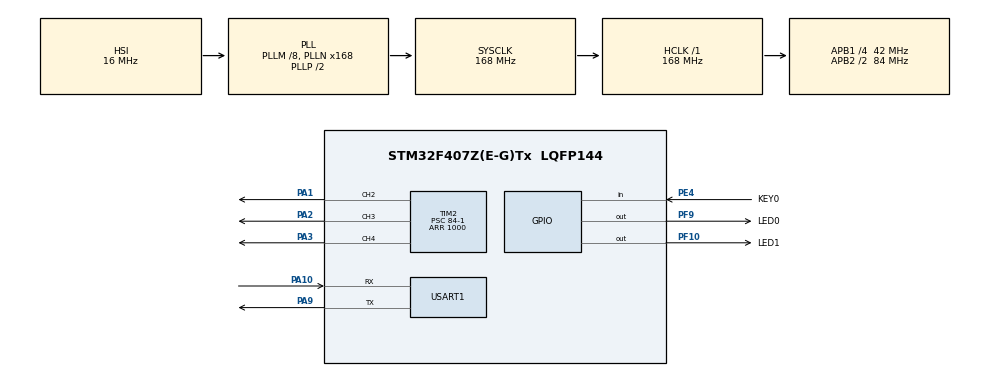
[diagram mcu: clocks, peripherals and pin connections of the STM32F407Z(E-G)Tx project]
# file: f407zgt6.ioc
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Mcu.Family=STM32F4
Mcu.Name=STM32F407Z(E-G)Tx
Mcu.Package=LQFP144
NVIC.PriorityGroup=NVIC_PRIORITYGROUP_4
NVIC.USART1_IRQn=true\:4\:0\:true\:false\:true\:true\:true\:true
PA1.Signal=S_TIM2_CH2
PA10.Mode=Asynchronous
PA10.Signal=USART1_RX
PA2.Signal=S_TIM2_CH3
PA3.Signal=S_TIM2_CH4
PA9.Mode=Asynchronous
PA9.Signal=USART1_TX
PE4.GPIO_Label=KEY0
PE4.GPIO_PuPd=GPIO_PULLDOWN
PE4.Signal=GPIO_Input
PF10.GPIO_Label=LED1
PF10.PinState=GPIO_PIN_SET
PF10.Signal=GPIO_Output
PF9.GPIO_Label=LED0
PF9.PinState=GPIO_PIN_SET
PF9.Signal=GPIO_Output
PH0-OSC_IN.Mode=HSE-External-Oscillator
PH0-OSC_IN.Signal=RCC_OSC_IN
PH1-OSC_OUT.Mode=HSE-External-Oscillator
PH1-OSC_OUT.Signal=RCC_OSC_OUT
ProjectManager.HeapSize=0x200
ProjectManager.StackSize=0x400
ProjectManager.TargetToolchain=STM32CubeIDE
RCC.48MHZClocksFreq_Value=84000000
RCC.AHBFreq_Value=168000000
RCC.APB1CLKDivider=RCC_HCLK_DIV4
RCC.APB1Freq_Value=42000000
RCC.APB1TimFreq_Value=84000000
RCC.APB2CLKDivider=RCC_HCLK_DIV2
RCC.APB2Freq_Value=84000000
RCC.APB2TimFreq_Value=168000000
RCC.CortexFreq_Value=168000000
RCC.HCLKFreq_Value=168000000
RCC.HSE_VALUE=8000000
RCC.HSI_VALUE=16000000
RCC.LSE_VALUE=32768
RCC.PLLM=8
RCC.PLLN=168
RCC.SYSCLKFreq_VALUE=168000000
RCC.SYSCLKSource=RCC_SYSCLKSOURCE_PLLCLK
RCC.VCOOutputFreq_Value=336000000
SH.S_TIM2_CH2.0=TIM2_CH2,PWM Generation2 CH2
SH.S_TIM2_CH3.0=TIM2_CH3,PWM Generation3 CH3
SH.S_TIM2_CH4.0=TIM2_CH4,PWM Generation4 CH4
TIM2.Channel-PWM\ Generation2\ CH2=TIM_CHANNEL_2
TIM2.Channel-PWM\ Generation3\ CH3=TIM_CHANNEL_3
TIM2.Channel-PWM\ Generation4\ CH4=TIM_CHANNEL_4
TIM2.CounterMode=TIM_COUNTERMODE_CENTERALIGNED1
TIM2.OC2Preload_PWM=ENABLE
TIM2.OCPolarity_2=TIM_OCPOLARITY_HIGH
TIM2.Period=1000
TIM2.Prescaler=84-1
USART1.VirtualMode=VM_ASYNC
VP_TIM2_VS_ClockSourceINT.Mode=Internal
board=custom

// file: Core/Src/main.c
/* USER CODE BEGIN Header */
/**
  ******************************************************************************
  * @file           : main.c
  * @brief          : Main program body
  ******************************************************************************
  * @attention
  *
  * Copyright (c) 2023 STMicroelectronics.
  * All rights reserved.
  *
  * This software is licensed under terms that can be found in the LICENSE file
  * in the root directory of this software component.
  * If no LICENSE file comes with this software, it is provided AS-IS.
  *
  ******************************************************************************
  */
/* USER CODE END Header */
#include "main.h"
#include "tim.h"
#include "usart.h"
#include "gpio.h"
/* USER CODE BEGIN Includes */
#include "svpwm.h"
/* USER CODE END Includes */

void SystemClock_Config(void);

int main(void)
{

    /* MCU Configuration--------------------------------------------------------*/

    /* Reset of all peripherals, Initializes the Flash interface and the Systick. */
    HAL_Init();

    /* Configure the system clock */
    SystemClock_Config();

    /* Initialize all configured peripherals */
    MX_GPIO_Init();
    MX_USART1_UART_Init();
    MX_TIM2_Init();
    /* USER CODE BEGIN 2 */
    uint8_t data;
    HAL_TIM_PWM_Start(&htim2, TIM_CHANNEL_2);
    HAL_TIM_PWM_Start(&htim2, TIM_CHANNEL_3);
    HAL_TIM_PWM_Start(&htim2, TIM_CHANNEL_4);

    __HAL_TIM_SET_COMPARE(&htim2, TIM_CHANNEL_2, 0);
    __HAL_TIM_SET_COMPARE(&htim2, TIM_CHANNEL_3, 0);
    __HAL_TIM_SET_COMPARE(&htim2, TIM_CHANNEL_4, 0);

    Clark clark_t;
    Time time_t;
    uint8_t sector;
    Phase phase_t;
    float theta = 0.0;
    /* USER CODE END 2 */

    /* Infinite loop */
    /* USER CODE BEGIN WHILE */
    while (1)
    {
        while (theta <= 6.28)
        {
            Inv_Park(0, 1.0, &clark_t, theta);
            sector = Sector_Judge(clark_t.Valpha, clark_t.Vbeta);
            Cal_Time(&time_t, clark_t.Valpha, clark_t.Vbeta, sector);
            Time_balance(&time_t, &phase_t, sector);
            U1_Printf("pha=%.3f,phb=%.3f,phc=%.3f\r\n",phase_t.phaseA,phase_t.phaseB,phase_t.phaseC);
            theta += 0.01;
//            __HAL_TIM_SET_COMPARE(&htim2,TIM_CHANNEL_2,(int)(phase_t.phaseA*1000.0));
//            __HAL_TIM_SET_COMPARE(&htim2,TIM_CHANNEL_3,(int)(phase_t.phaseB*1000.0));
//            __HAL_TIM_SET_COMPARE(&htim2,TIM_CHANNEL_4,(int)(phase_t.phaseC*1000.0));
        }
        theta = 0;
//        if (U1_RX_Struct.RX_Out != U1_RX_Struct.RX_In)//Indicate that the UART1 receive buffer has some data
//        {
//            //U1_Printf("Receive %d data\r\n", U1_RX_Struct.RX_Out->end - U1_RX_Struct.RX_Out->start + 1);
//            data=(*U1_RX_Struct.RX_Out->start-'0')*100+(*(U1_RX_Struct.RX_Out->start+1)-'0')*10+(*(U1_RX_Struct.RX_Out->start+2)-'0');
//            U1_Printf("data:%d\r\n",data);
//            __HAL_TIM_SET_COMPARE(&htim2,TIM_CHANNEL_2,(float)data/500.0*2000);
//            U1_RX_Struct.RX_Out++;//get the next data
//            if (U1_RX_Struct.RX_Out == U1_RX_Struct.RX_End)
//                U1_RX_Struct.RX_Out = &U1_RX_Struct.SE_Buffer[0];
//        }
        /* USER CODE END WHILE */

    }
}

void SystemClock_Config(void)
{
    RCC_OscInitTypeDef RCC_OscInitStruct = {0};
    RCC_ClkInitTypeDef RCC_ClkInitStruct = {0};

    /** Configure the main internal regulator output voltage
    */
    __HAL_RCC_PWR_CLK_ENABLE();
    __HAL_PWR_VOLTAGESCALING_CONFIG(PWR_REGULATOR_VOLTAGE_SCALE1);

    /** Initializes the RCC Oscillators according to the specified parameters
    * in the RCC_OscInitTypeDef structure.
    */
    RCC_OscInitStruct.OscillatorType = RCC_OSCILLATORTYPE_HSI;
    RCC_OscInitStruct.HSIState = RCC_HSI_ON;
    RCC_OscInitStruct.HSICalibrationValue = RCC_HSICALIBRATION_DEFAULT;
    RCC_OscInitStruct.PLL.PLLState = RCC_PLL_ON;
    RCC_OscInitStruct.PLL.PLLSource = RCC_PLLSOURCE_HSI;
    RCC_OscInitStruct.PLL.PLLM = 8;
    RCC_OscInitStruct.PLL.PLLN = 168;
    RCC_OscInitStruct.PLL.PLLP = RCC_PLLP_DIV2;
    RCC_OscInitStruct.PLL.PLLQ = 4;
    if (HAL_RCC_OscConfig(&RCC_OscInitStruct) != HAL_OK)
    {
        Error_Handler();
    }

    /** Initializes the CPU, AHB and APB buses clocks
    */
    RCC_ClkInitStruct.ClockType = RCC_CLOCKTYPE_HCLK | RCC_CLOCKTYPE_SYSCLK
                                  | RCC_CLOCKTYPE_PCLK1 | RCC_CLOCKTYPE_PCLK2;
    RCC_ClkInitStruct.SYSCLKSource = RCC_SYSCLKSOURCE_PLLCLK;
    RCC_ClkInitStruct.AHBCLKDivider = RCC_SYSCLK_DIV1;
    RCC_ClkInitStruct.APB1CLKDivider = RCC_HCLK_DIV4;
    RCC_ClkInitStruct.APB2CLKDivider = RCC_HCLK_DIV2;

    if (HAL_RCC_ClockConfig(&RCC_ClkInitStruct, FLASH_LATENCY_5) != HAL_OK)
    {
        Error_Handler();
    }
}

void Error_Handler(void)
{
    __disable_irq();
    while (1)
    {
    }
}
